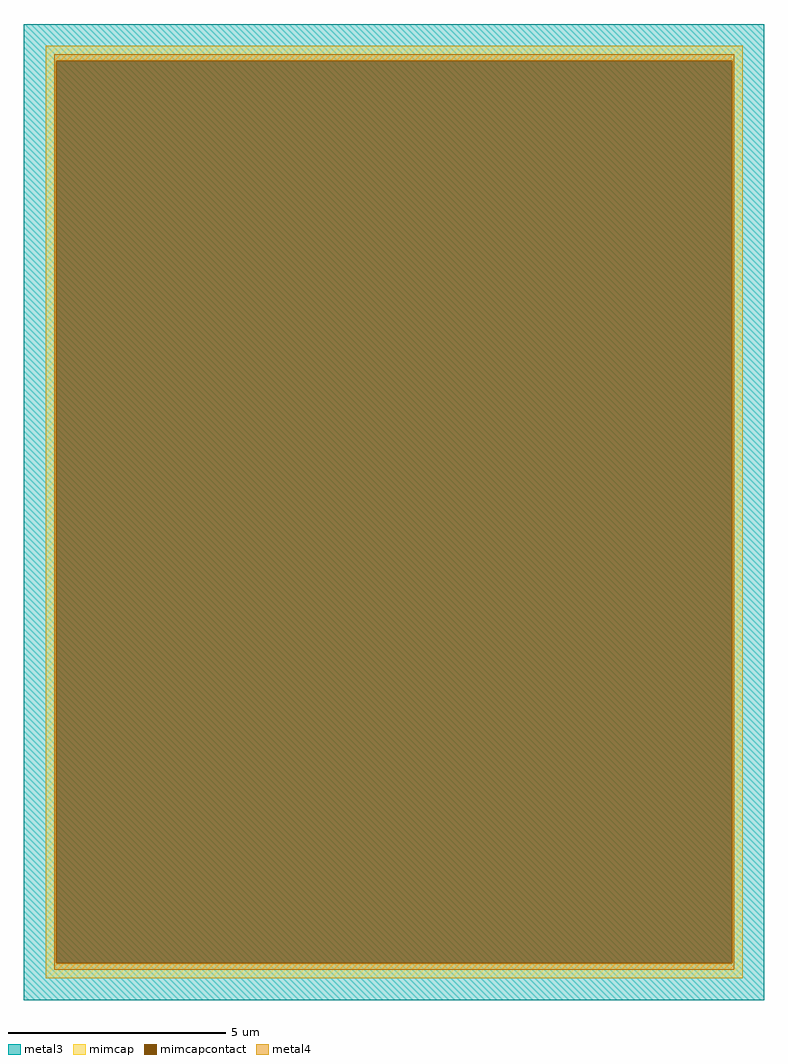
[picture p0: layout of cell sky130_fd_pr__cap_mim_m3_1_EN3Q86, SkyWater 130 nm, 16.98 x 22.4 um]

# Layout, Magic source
magic
tech sky130A
magscale 1 2
<< metal3 >>
rect -1750 -2240 1647 2240
<< mimcap >>
rect -1650 2072 1550 2140
rect -1650 -2072 -1602 2072
rect 1502 -2072 1550 2072
rect -1650 -2140 1550 -2072
<< mimcapcontact >>
rect -1602 -2072 1502 2072
<< metal4 >>
rect -1611 2072 1511 2101
rect -1611 -2072 -1602 2072
rect 1502 -2072 1511 2072
rect -1611 -2101 1511 -2072
<< properties >>
string FIXED_BBOX -1750 -2240 1650 2240
<< end >>
